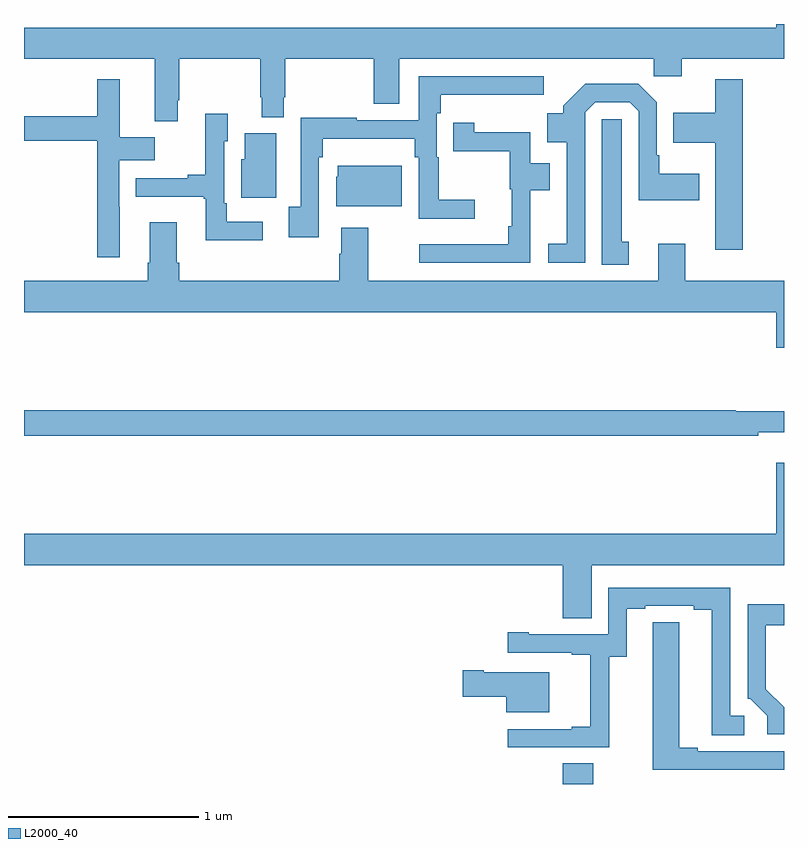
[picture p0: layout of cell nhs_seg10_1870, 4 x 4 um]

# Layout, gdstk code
import gdstk
lib = gdstk.Library(unit=1e-6, precision=1e-09)
def R(c, l, rs):  # rectangles x0, y0, x1, y1
    for r in rs: c.add(gdstk.rectangle(r[:2], r[2:], *l))
def P(c, l, *ps):  # polygons
    for p in ps: c.add(gdstk.Polygon(p, *l))
L2000_40 = (2000, 40)

nhs_seg10_1870 = lib.new_cell('nhs_seg10_1870')
R(nhs_seg10_1870, L2000_40, [(211.835,1296.5,211.995,1296.608)])
P(nhs_seg10_1870, L2000_40, [(209.809,1300.099),(209.817,1300.099),(209.817,1300.316),(210.244,1300.316),(210.244,1300.114),(210.251,1300.114),(210.251,1300.009),(210.367,1300.009),(210.367,1300.114),(210.375,1300.114),(210.375,1300.316),(210.841,1300.316),(210.841,1300.08),(210.976,1300.08),(210.976,1300.316),(212.314,1300.316),(212.314,1300.226),(212.461,1300.226),(212.461,1300.316),(213,1300.316),(213,1300.5),(212.96,1300.5),(212.96,1300.48),(209,1300.48),(209,1300.316),(209.687,1300.316),(209.687,1299.987),(209.809,1299.987)],
  [(210.552,1299.8),(210.572,1299.8),(210.572,1299.896),(211.057,1299.896),(211.057,1299.8),(211.077,1299.8),(211.077,1299.476),(211.372,1299.476),(211.372,1299.576),(211.183,1299.576),(211.183,1299.8),(211.173,1299.8),(211.173,1300.031),(211.193,1300.031),(211.193,1300.127),(211.735,1300.127),(211.735,1300.224),(211.077,1300.224),(211.077,1299.993),(210.752,1299.993),(210.752,1300.006),(210.456,1300.006),(210.456,1299.537),(210.393,1299.537),(210.393,1299.378),(210.552,1299.378)],
  [(209.503,1299.539),(209.502,1299.539),(209.502,1299.782),(209.687,1299.782),(209.687,1299.904),(209.504,1299.904),(209.504,1300.21),(209.386,1300.21),(209.386,1300.015),(209,1300.015),(209,1299.886),(209.386,1299.886),(209.386,1299.273),(209.503,1299.273)],
  [(212.783,1300.21),(212.639,1300.21),(212.639,1300.033),(212.418,1300.033),(212.418,1299.875),(212.639,1299.875),(212.639,1299.312),(212.783,1299.312)],
  [(211.953,1300.035),(212.007,1300.089),(212.187,1300.089),(212.235,1300.041),(212.235,1299.572),(212.554,1299.572),(212.554,1299.712),(212.344,1299.712),(212.344,1299.808),(212.331,1299.808),(212.331,1300.089),(212.234,1300.186),(211.954,1300.186),(211.837,1300.069),(211.837,1300.03),(211.754,1300.03),(211.754,1299.878),(211.857,1299.878),(211.857,1299.344),(211.758,1299.344),(211.758,1299.243),(211.953,1299.243)],
  [(210.256,1299.459),(210.067,1299.459),(210.067,1299.556),(210.054,1299.556),(210.054,1299.882),(210.073,1299.882),(210.073,1300.027),(209.953,1300.027),(209.953,1299.707),(209.861,1299.707),(209.861,1299.687),(209.587,1299.687),(209.587,1299.59),(209.946,1299.59),(209.946,1299.579),(209.957,1299.579),(209.957,1299.362),(210.256,1299.362)],
  [(212.182,1299.354),(212.146,1299.354),(212.146,1299.999),(212.042,1299.999),(212.042,1299.234),(212.182,1299.234)],
  [(211.665,1299.626),(211.768,1299.626),(211.768,1299.766),(211.665,1299.766),(211.665,1299.929),(211.369,1299.929),(211.369,1299.979),(211.258,1299.979),(211.258,1299.83),(211.557,1299.83),(211.557,1299.63),(211.568,1299.63),(211.568,1299.436),(211.549,1299.436),(211.549,1299.34),(211.08,1299.34),(211.08,1299.243),(211.665,1299.243)],
  [(210.327,1299.688),(210.328,1299.688),(210.328,1299.924),(210.161,1299.924),(210.161,1299.789),(210.143,1299.789),(210.143,1299.585),(210.327,1299.585)],
  [(210.988,1299.754),(210.65,1299.754),(210.65,1299.696),(210.644,1299.696),(210.644,1299.542),(210.988,1299.542)],
  [(213,1299.148),(212.479,1299.148),(212.479,1299.343),(212.339,1299.343),(212.339,1299.148),(210.811,1299.148),(210.811,1299.427),(210.671,1299.427),(210.671,1299.29),(210.659,1299.29),(210.659,1299.148),(209.816,1299.148),(209.816,1299.244),(209.803,1299.244),(209.803,1299.457),(209.663,1299.457),(209.663,1299.244),(209.651,1299.244),(209.651,1299.148),(209,1299.148),(209,1298.984),(212.96,1298.984),(212.96,1298.796),(213,1298.796)],
  [(212.864,1298.351),(213,1298.351),(213,1298.461),(212.746,1298.461),(212.746,1298.468),(209,1298.468),(209,1298.332),(212.864,1298.332)],
  [(211.987,1297.652),(213,1297.652),(213,1298.191),(212.96,1298.191),(212.96,1297.816),(209,1297.816),(209,1297.652),(211.835,1297.652),(211.835,1297.372),(211.987,1297.372)],
  [(212.079,1297.171),(212.173,1297.171),(212.173,1297.422),(212.269,1297.422),(212.269,1297.437),(212.525,1297.437),(212.525,1297.417),(212.621,1297.417),(212.621,1296.757),(212.791,1296.757),(212.791,1296.858),(212.718,1296.858),(212.718,1297.533),(212.076,1297.533),(212.076,1297.287),(211.657,1297.287),(211.657,1297.3),(211.545,1297.3),(211.545,1297.191),(211.883,1297.191),(211.883,1297.179),(211.979,1297.179),(211.979,1296.802),(211.883,1296.802),(211.883,1296.789),(211.545,1296.789),(211.545,1296.693),(212.079,1296.693)],
  [(213,1296.903),(212.905,1296.998),(212.905,1297.335),(213,1297.335),(213,1297.445),(212.808,1297.445),(212.808,1296.948),(212.823,1296.948),(212.913,1296.858),(212.913,1296.762),(213,1296.762)],
  [(213,1296.672),(212.545,1296.672),(212.545,1296.692),(212.449,1296.692),(212.449,1297.352),(212.31,1297.352),(212.31,1297.244),(212.309,1297.244),(212.309,1296.576),(213,1296.576)],
  [(211.765,1297.087),(211.42,1297.087),(211.42,1297.1),(211.308,1297.1),(211.308,1296.958),(211.538,1296.958),(211.538,1296.878),(211.765,1296.878)])

lib.write_gds('nhs_seg10_1870.gds')
